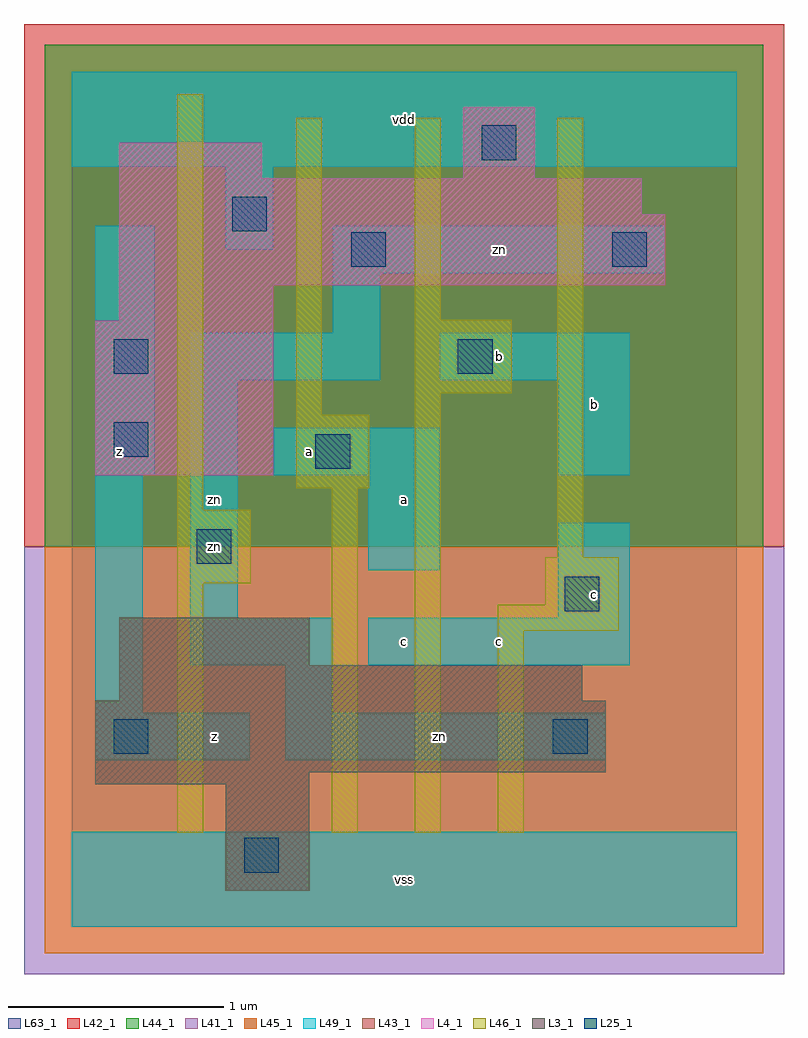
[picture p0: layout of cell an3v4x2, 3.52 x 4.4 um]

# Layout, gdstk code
import gdstk
lib = gdstk.Library(unit=1e-6, precision=1e-09)
def R(c, l, rs):  # rectangles x0, y0, x1, y1
    for r in rs: c.add(gdstk.rectangle(r[:2], r[2:], *l))
L3_1 = (3, 1)
L4_1 = (4, 1)
L25_1 = (25, 1)
L41_1 = (41, 1)
L42_1 = (42, 1)
L43_1 = (43, 1)
L44_1 = (44, 1)
L45_1 = (45, 1)
L46_1 = (46, 1)
L49_1 = (49, 1)
L63_1 = (63, 1)

an3v4x2 = lib.new_cell('an3v4x2')
R(an3v4x2, L3_1, [(0.715,0.165,1.1,0.66), (0.11,0.66,1.1,0.715), (0.11,0.715,2.475,1.045), (0.22,1.045,2.365,1.21), (0.22,1.21,1.1,1.43)])
R(an3v4x2, L4_1, [(0.11,2.09,0.935,2.805), (0.22,2.805,0.935,2.97), (0.22,2.97,2.75,3.3), (0.22,3.3,2.64,3.465), (0.22,3.465,0.88,3.63), (1.815,3.465,2.145,3.795)])
R(an3v4x2, L25_1, [(0.8,0.25,0.96,0.41), (0.195,0.8,0.355,0.96), (2.23,0.8,2.39,0.96), (2.285,1.46,2.445,1.62), (0.58,1.68,0.74,1.84), (1.13,2.12,1.29,2.28), (0.195,2.175,0.355,2.335), (0.195,2.56,0.355,2.72), (1.79,2.56,1.95,2.72), (1.295,3.055,1.455,3.215), (2.505,3.055,2.665,3.215), (0.745,3.22,0.905,3.38), (1.9,3.55,2.06,3.71)])
R(an3v4x2, L41_1, [(-0.22,-0.22,3.3,1.76)])
R(an3v4x2, L42_1, [(-0.22,1.76,3.3,4.18)])
R(an3v4x2, L43_1, [(0.715,0.165,1.1,0.66), (0.11,0.66,1.1,0.715), (0.11,0.715,2.475,1.045), (0.22,1.045,2.365,1.21), (0.22,1.21,1.1,1.43), (0.11,2.09,0.935,2.805), (0.22,2.805,0.935,2.97), (0.22,2.97,2.75,3.3), (0.22,3.3,2.64,3.465), (0.22,3.465,0.88,3.63), (1.815,3.465,2.145,3.795)])
R(an3v4x2, L44_1, [(-0.125,1.76,3.205,4.085)])
R(an3v4x2, L45_1, [(-0.125,-0.125,3.205,1.76)])
R(an3v4x2, L46_1, [(0.49,0.435,0.61,1.59), (1.205,0.435,1.325,2.03), (1.59,0.435,1.71,2.47), (1.975,0.435,2.095,1.37), (1.975,1.37,2.535,1.49), (2.195,1.49,2.535,1.71), (0.49,1.59,0.83,1.93), (2.25,1.71,2.37,3.745), (0.49,1.93,0.61,3.855), (1.04,2.03,1.38,2.37), (1.04,2.37,1.16,3.745), (1.59,2.47,2.04,2.81), (1.59,2.81,1.71,3.745)])
R(an3v4x2, L49_1, [(0,0,3.08,0.44), (0.11,0.77,0.825,0.99), (0.99,0.77,2.475,0.99), (0.11,0.99,0.33,2.09), (0.99,0.99,1.21,1.21), (0.55,1.21,1.21,1.43), (1.375,1.21,2.585,1.43), (0.55,1.43,0.77,2.53), (2.255,1.43,2.585,1.87), (1.375,1.65,1.705,2.09), (0.11,2.09,0.385,3.245), (0.935,2.09,1.705,2.31), (2.255,2.09,2.585,2.53), (0.55,2.53,1.43,2.75), (1.705,2.53,2.585,2.75), (1.21,2.75,1.43,3.025), (1.21,3.025,2.75,3.245), (0.715,3.135,0.935,3.52), (0,3.52,3.08,3.96)])
R(an3v4x2, L63_1, [(0,0,3.08,3.96)])
an3v4x2.add(gdstk.Label('zn', (0.66,1.76), layer=49, texttype=1))
an3v4x2.add(gdstk.Label('z', (0.22,2.2), layer=49, texttype=1))
an3v4x2.add(gdstk.Label('z', (0.66,0.88), layer=49, texttype=1))
an3v4x2.add(gdstk.Label('a', (1.1,2.2), layer=49, texttype=1))
an3v4x2.add(gdstk.Label('zn', (0.66,1.98), layer=49, texttype=1))
an3v4x2.add(gdstk.Label('vss', (1.54,0.22), layer=49, texttype=1))
an3v4x2.add(gdstk.Label('c', (1.54,1.32), layer=49, texttype=1))
an3v4x2.add(gdstk.Label('c', (1.98,1.32), layer=49, texttype=1))
an3v4x2.add(gdstk.Label('a', (1.54,1.98), layer=49, texttype=1))
an3v4x2.add(gdstk.Label('b', (1.98,2.64), layer=49, texttype=1))
an3v4x2.add(gdstk.Label('vdd', (1.54,3.74), layer=49, texttype=1))
an3v4x2.add(gdstk.Label('zn', (1.705,0.88), layer=49, texttype=1))
an3v4x2.add(gdstk.Label('c', (2.42,1.54), layer=49, texttype=1))
an3v4x2.add(gdstk.Label('b', (2.42,2.42), layer=49, texttype=1))
an3v4x2.add(gdstk.Label('zn', (1.98,3.135), layer=49, texttype=1))

lib.write_gds('an3v4x2.gds')
